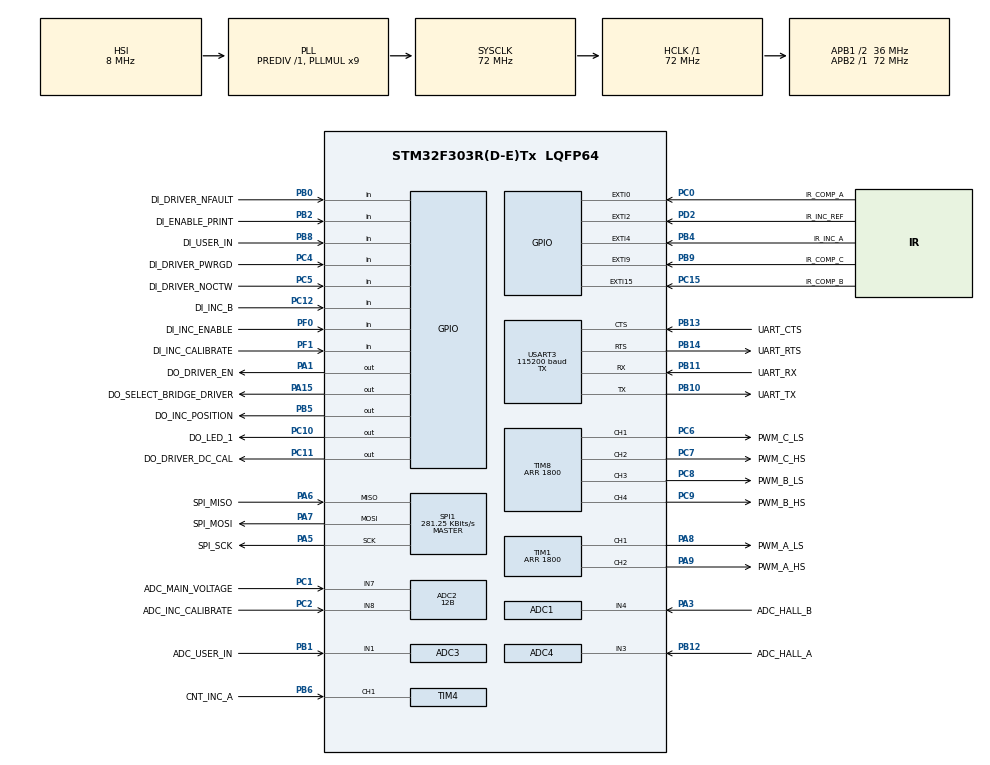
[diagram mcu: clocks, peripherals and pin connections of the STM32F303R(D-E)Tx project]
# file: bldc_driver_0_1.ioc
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ADC1.Channel-0\#ChannelRegularConversion=ADC_CHANNEL_4
ADC1.ClockPrescaler=ADC_CLOCK_ASYNC_DIV1
ADC1.ContinuousConvMode=ENABLE
ADC1.DMAContinuousRequests=ENABLE
ADC1.DataAlign=ADC_DATAALIGN_RIGHT
ADC1.DiscontinuousConvMode=DISABLE
ADC1.EOCSelection=ADC_EOC_SEQ_CONV
ADC1.EnableAnalogWatchDog1=false
ADC1.EnableAnalogWatchDog2=false
ADC1.EnableAnalogWatchDog3=false
ADC1.EnableInjectedConversion=DISABLE
ADC1.EnableRegularConversion=ENABLE
ADC1.ExternalTrigConv=ADC_SOFTWARE_START
ADC1.ExternalTrigConvEdge=ADC_EXTERNALTRIGCONVEDGE_NONE
ADC1.LowPowerAutoWait=DISABLE
ADC1.NbrOfConversion=1
ADC1.NbrOfConversionFlag=1
ADC1.Offset-0\#ChannelRegularConversion=0
ADC1.OffsetNumber-0\#ChannelRegularConversion=ADC_OFFSET_NONE
ADC1.Overrun=ADC_OVR_DATA_OVERWRITTEN
ADC1.Rank-0\#ChannelRegularConversion=1
ADC1.Resolution=ADC_RESOLUTION_12B
ADC1.SamplingTime-0\#ChannelRegularConversion=ADC_SAMPLETIME_601CYCLES_5
ADC1.ScanConvMode=ADC_SCAN_DISABLE
ADC1.master=1
ADC2.Channel-0\#ChannelRegularConversion=ADC_CHANNEL_7
ADC2.ClockPrescaler=ADC_CLOCK_ASYNC_DIV1
ADC2.ContinuousConvMode=DISABLE
ADC2.DMAContinuousRequests=DISABLE
ADC2.DataAlign=ADC_DATAALIGN_RIGHT
ADC2.DiscontinuousConvMode=DISABLE
ADC2.EOCSelection=ADC_EOC_SINGLE_CONV
ADC2.EnableAnalogWatchDog1=false
ADC2.EnableAnalogWatchDog2=false
ADC2.EnableAnalogWatchDog3=false
ADC2.EnableInjectedConversion=ENABLE
ADC2.EnableRegularConversion=ENABLE
ADC2.ExternalTrigConv=ADC_SOFTWARE_START
ADC2.ExternalTrigConvEdge=ADC_EXTERNALTRIGCONVEDGE_NONE
ADC2.InjNumberOfConversion=0
ADC2.LowPowerAutoWait=DISABLE
ADC2.NbrOfConversion=1
ADC2.NbrOfConversionFlag=1
ADC2.Offset-0\#ChannelRegularConversion=0
ADC2.OffsetNumber-0\#ChannelRegularConversion=ADC_OFFSET_NONE
ADC2.Overrun=ADC_OVR_DATA_OVERWRITTEN
ADC2.Rank-0\#ChannelRegularConversion=1
ADC2.Resolution=ADC_RESOLUTION_12B
ADC2.SamplingTime-0\#ChannelRegularConversion=ADC_SAMPLETIME_1CYCLE_5
ADC2.ScanConvMode=ADC_SCAN_DISABLE
ADC3.Channel-64\#ChannelRegularConversion=ADC_CHANNEL_1
ADC3.NbrOfConversionFlag=1
ADC3.Offset-64\#ChannelRegularConversion=0
ADC3.OffsetNumber-64\#ChannelRegularConversion=ADC_OFFSET_NONE
ADC3.Rank-64\#ChannelRegularConversion=1
ADC3.SamplingTime-64\#ChannelRegularConversion=ADC_SAMPLETIME_1CYCLE_5
ADC3.master=1
ADC4.Channel-0\#ChannelRegularConversion=ADC_CHANNEL_3
ADC4.ClockPrescaler=ADC_CLOCK_ASYNC_DIV1
ADC4.ContinuousConvMode=ENABLE
ADC4.DMAContinuousRequests=ENABLE
ADC4.DataAlign=ADC_DATAALIGN_RIGHT
ADC4.DiscontinuousConvMode=DISABLE
ADC4.EOCSelection=ADC_EOC_SEQ_CONV
ADC4.EnableAnalogWatchDog1=false
ADC4.EnableAnalogWatchDog2=false
ADC4.EnableAnalogWatchDog3=false
ADC4.EnableInjectedConversion=DISABLE
ADC4.EnableRegularConversion=ENABLE
ADC4.ExternalTrigConv=ADC_SOFTWARE_START
ADC4.ExternalTrigConvEdge=ADC_EXTERNALTRIGCONVEDGE_NONE
ADC4.LowPowerAutoWait=DISABLE
ADC4.NbrOfConversion=1
ADC4.NbrOfConversionFlag=1
ADC4.Offset-0\#ChannelRegularConversion=0
ADC4.OffsetNumber-0\#ChannelRegularConversion=ADC_OFFSET_NONE
ADC4.Overrun=ADC_OVR_DATA_OVERWRITTEN
ADC4.Rank-0\#ChannelRegularConversion=1
ADC4.Resolution=ADC_RESOLUTION_12B
ADC4.SamplingTime-0\#ChannelRegularConversion=ADC_SAMPLETIME_601CYCLES_5
ADC4.ScanConvMode=ADC_SCAN_DISABLE
Dma.ADC1.1.Direction=DMA_PERIPH_TO_MEMORY
Dma.ADC1.1.Instance=DMA1_Channel1
Dma.ADC1.1.MemDataAlignment=DMA_MDATAALIGN_WORD
Dma.ADC1.1.MemInc=DMA_MINC_ENABLE
Dma.ADC1.1.Mode=DMA_NORMAL
Dma.ADC1.1.PeriphDataAlignment=DMA_PDATAALIGN_WORD
Dma.ADC1.1.PeriphInc=DMA_PINC_DISABLE
Dma.ADC1.1.Priority=DMA_PRIORITY_LOW
Dma.ADC4.0.Direction=DMA_PERIPH_TO_MEMORY
Dma.ADC4.0.Instance=DMA2_Channel2
Dma.ADC4.0.MemDataAlignment=DMA_MDATAALIGN_WORD
Dma.ADC4.0.MemInc=DMA_MINC_ENABLE
Dma.ADC4.0.Mode=DMA_NORMAL
Dma.ADC4.0.PeriphDataAlignment=DMA_PDATAALIGN_WORD
Dma.ADC4.0.PeriphInc=DMA_PINC_DISABLE
Dma.ADC4.0.Priority=DMA_PRIORITY_LOW
Dma.Request0=ADC4
Dma.Request1=ADC1
Mcu.Family=STM32F3
Mcu.Name=STM32F303R(D-E)Tx
Mcu.Package=LQFP64
NVIC.DMA1_Channel1_IRQn=true\:0\:0\:false\:false\:true\:false
NVIC.DMA2_Channel2_IRQn=true\:0\:0\:false\:false\:true\:false
NVIC.EXTI0_IRQn=true\:0\:0\:false\:false\:true\:true
NVIC.EXTI15_10_IRQn=true\:0\:0\:false\:false\:true\:true
NVIC.EXTI2_TSC_IRQn=true\:0\:0\:false\:false\:true\:true
NVIC.EXTI4_IRQn=true\:0\:0\:false\:false\:true\:true
NVIC.EXTI9_5_IRQn=true\:0\:0\:false\:false\:true\:true
NVIC.PriorityGroup=NVIC_PRIORITYGROUP_4
NVIC.TIM1_UP_TIM16_IRQn=true\:0\:0\:false\:false\:true\:true
NVIC.TIM2_IRQn=true\:0\:0\:false\:false\:true\:true
PA1.GPIO_Label=DO_DRIVER_EN
PA1.Signal=GPIO_Output
PA13.Mode=Trace_Asynchronous_SW
PA13.Signal=SYS_JTMS-SWDIO
PA14.Mode=Trace_Asynchronous_SW
PA14.Signal=SYS_JTCK-SWCLK
PA15.GPIO_Label=DO_SELECT_BRIDGE_DRIVER
PA15.Signal=GPIO_Output
PA3.GPIO_Label=ADC_HALL_B
PA3.Mode=IN4-Single-Ended
PA3.Signal=ADC1_IN4
PA5.GPIO_Label=SPI_SCK
PA5.Mode=Full_Duplex_Master
PA5.Signal=SPI1_SCK
PA6.GPIO_Label=SPI_MISO
PA6.Mode=Full_Duplex_Master
PA6.Signal=SPI1_MISO
PA7.GPIO_Label=SPI_MOSI
PA7.Mode=Full_Duplex_Master
PA7.Signal=SPI1_MOSI
PA8.GPIO_Label=PWM_A_LS
PA8.Signal=S_TIM1_CH1
PA9.GPIO_Label=PWM_A_HS
PA9.Signal=S_TIM1_CH2
PB0.GPIO_Label=DI_DRIVER_NFAULT
PB0.Signal=GPIO_Input
PB1.GPIO_Label=ADC_USER_IN
PB1.Mode=IN1-Single-Ended
PB1.Signal=ADC3_IN1
PB10.GPIO_Label=UART_TX
PB10.Mode=Asynchronous
PB10.Signal=USART3_TX
PB11.GPIO_Label=UART_RX
PB11.Mode=Asynchronous
PB11.Signal=USART3_RX
PB12.GPIO_Label=ADC_HALL_A
PB12.Mode=IN3-Single-Ended
PB12.Signal=ADC4_IN3
PB13.GPIO_Label=UART_CTS
PB13.Mode=CTS_RTS
PB13.Signal=USART3_CTS
PB14.GPIO_Label=UART_RTS
PB14.Mode=CTS_RTS
PB14.Signal=USART3_RTS
PB2.GPIO_Label=DI_ENABLE_PRINT
PB2.Signal=GPIO_Input
PB3.Mode=Trace_Asynchronous_SW
PB3.Signal=SYS_JTDO-TRACESWO
PB4.GPIO_Label=IR_INC_A
PB4.Signal=GPXTI4
PB5.GPIO_Label=DO_INC_POSITION
PB5.Signal=GPIO_Output
PB6.GPIO_Label=CNT_INC_A
PB6.Signal=S_TIM4_CH1
PB8.GPIO_Label=DI_USER_IN
PB8.Signal=GPIO_Input
PB9.GPIO_Label=IR_COMP_C
PB9.GPIO_ModeDefaultEXTI=GPIO_MODE_IT_RISING_FALLING
PB9.Signal=GPXTI9
PC0.GPIO_Label=IR_COMP_A
PC0.GPIO_ModeDefaultEXTI=GPIO_MODE_IT_RISING_FALLING
PC0.Signal=GPXTI0
PC1.GPIO_Label=ADC_MAIN_VOLTAGE
PC1.Signal=ADCx_IN7
PC10.GPIO_Label=DO_LED_1
PC10.Signal=GPIO_Output
PC11.GPIO_Label=DO_DRIVER_DC_CAL
PC11.Signal=GPIO_Output
PC12.GPIO_Label=DI_INC_B
PC12.Signal=GPIO_Input
PC15-OSC32_OUT.GPIO_Label=IR_COMP_B
PC15-OSC32_OUT.GPIO_ModeDefaultEXTI=GPIO_MODE_IT_RISING_FALLING
PC15-OSC32_OUT.Signal=GPXTI15
PC2.GPIO_Label=ADC_INC_CALIBRATE
PC2.Signal=ADCx_IN8
PC4.GPIO_Label=DI_DRIVER_PWRGD
PC4.Signal=GPIO_Input
PC5.GPIO_Label=DI_DRIVER_NOCTW
PC5.Signal=GPIO_Input
PC6.GPIO_Label=PWM_C_LS
PC6.Signal=S_TIM8_CH1
PC7.GPIO_Label=PWM_C_HS
PC7.Signal=S_TIM8_CH2
PC8.GPIO_Label=PWM_B_LS
PC8.Signal=S_TIM8_CH3
PC9.GPIO_Label=PWM_B_HS
PC9.Signal=S_TIM8_CH4
PD2.GPIO_Label=IR_INC_REF
PD2.Signal=GPXTI2
PF0-OSC_IN.GPIO_Label=DI_INC_ENABLE
PF0-OSC_IN.Signal=GPIO_Input
PF1-OSC_OUT.GPIO_Label=DI_INC_CALIBRATE
PF1-OSC_OUT.Signal=GPIO_Input
ProjectManager.HeapSize=0x200
ProjectManager.StackSize=0x400
ProjectManager.TargetToolchain=SW4STM32
RCC.AHBFreq_Value=72000000
RCC.APB1CLKDivider=RCC_HCLK_DIV2
RCC.APB1Freq_Value=36000000
RCC.APB1TimFreq_Value=72000000
RCC.APB2Freq_Value=72000000
RCC.APB2TimFreq_Value=72000000
RCC.CortexFreq_Value=72000000
RCC.HCLKFreq_Value=72000000
RCC.HSE_VALUE=8000000
RCC.HSI_VALUE=8000000
RCC.LSE_VALUE=32768
RCC.PLLMUL=RCC_PLL_MUL9
RCC.SYSCLKFreq_VALUE=72000000
RCC.SYSCLKSourceVirtual=RCC_SYSCLKSOURCE_PLLCLK
RCC.USBFreq_Value=72000000
SH.ADCx_IN7.0=ADC2_IN7,IN7-Single-Ended
SH.ADCx_IN8.0=ADC2_IN8,IN8-Single-Ended
SH.S_TIM1_CH1.0=TIM1_CH1,PWM Generation1 CH1
SH.S_TIM1_CH2.0=TIM1_CH2,PWM Generation2 CH2
SH.S_TIM4_CH1.0=TIM4_CH1,TriggerSource_TI1FP1
SH.S_TIM8_CH1.0=TIM8_CH1,PWM Generation1 CH1
SH.S_TIM8_CH2.0=TIM8_CH2,PWM Generation2 CH2
SH.S_TIM8_CH3.0=TIM8_CH3,PWM Generation3 CH3
SH.S_TIM8_CH4.0=TIM8_CH4,PWM Generation4 CH4
SPI1.BaudRatePrescaler=SPI_BAUDRATEPRESCALER_256
SPI1.CalculateBaudRate=281.25 KBits/s
SPI1.DataSize=SPI_DATASIZE_8BIT
SPI1.Direction=SPI_DIRECTION_2LINES
SPI1.Mode=SPI_MODE_MASTER
SPI1.VirtualType=VM_MASTER
TIM1.Channel-PWM\ Generation1\ CH1=TIM_CHANNEL_1
TIM1.Channel-PWM\ Generation2\ CH2=TIM_CHANNEL_2
TIM1.CounterMode=TIM_COUNTERMODE_CENTERALIGNED3
TIM1.Period=1800
TIM1.Pulse-PWM\ Generation1\ CH1=900
TIM1.Pulse-PWM\ Generation2\ CH2=900
TIM2.Period=0xFFFFFFFF
TIM2.Prescaler=72
TIM8.Channel-PWM\ Generation1\ CH1=TIM_CHANNEL_1
TIM8.Channel-PWM\ Generation2\ CH2=TIM_CHANNEL_2
TIM8.Channel-PWM\ Generation3\ CH3=TIM_CHANNEL_3
TIM8.Channel-PWM\ Generation4\ CH4=TIM_CHANNEL_4
TIM8.CounterMode=TIM_COUNTERMODE_CENTERALIGNED3
TIM8.Period=1800
TIM8.Pulse-PWM\ Generation1\ CH1=900
TIM8.Pulse-PWM\ Generation3\ CH3=900
USART3.BaudRate=115200
USART3.Mode=MODE_TX
USART3.VirtualMode-Asynchronous=VM_ASYNC
USART3.WordLength=WORDLENGTH_8B
VP_TIM2_VS_ClockSourceINT.Mode=Internal
VP_TIM4_VS_ControllerModeClock.Mode=Clock Mode
board=bldc_driver_0_1

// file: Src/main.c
/**
  ******************************************************************************
  * File Name          : main.c
  * Description        : Main program body
  ******************************************************************************
  ** This notice applies to any and all portions of this file
  * that are not between comment pairs USER CODE BEGIN and
  * USER CODE END. Other portions of this file, whether
  * inserted by the user or by software development tools
  * are owned by their respective copyright owners.
  *
  * COPYRIGHT(c) 2018 STMicroelectronics
  *
  * Redistribution and use in source and binary forms, with or without modification,
  * are permitted provided that the following conditions are met:
  *   1. Redistributions of source code must retain the above copyright notice,
  *      this list of conditions and the following disclaimer.
  *   2. Redistributions in binary form must reproduce the above copyright notice,
  *      this list of conditions and the following disclaimer in the documentation
  *      and/or other materials provided with the distribution.
  *   3. Neither the name of STMicroelectronics nor the names of its contributors
  *      may be used to endorse or promote products derived from this software
  *      without specific prior written permission.
  *
  * THIS SOFTWARE IS PROVIDED BY THE COPYRIGHT HOLDERS AND CONTRIBUTORS "AS IS"
  * AND ANY EXPRESS OR IMPLIED WARRANTIES, INCLUDING, BUT NOT LIMITED TO, THE
  * IMPLIED WARRANTIES OF MERCHANTABILITY AND FITNESS FOR A PARTICULAR PURPOSE ARE
  * DISCLAIMED. IN NO EVENT SHALL THE COPYRIGHT HOLDER OR CONTRIBUTORS BE LIABLE
  * FOR ANY DIRECT, INDIRECT, INCIDENTAL, SPECIAL, EXEMPLARY, OR CONSEQUENTIAL
  * DAMAGES (INCLUDING, BUT NOT LIMITED TO, PROCUREMENT OF SUBSTITUTE GOODS OR
  * SERVICES; LOSS OF USE, DATA, OR PROFITS; OR BUSINESS INTERRUPTION) HOWEVER
  * CAUSED AND ON ANY THEORY OF LIABILITY, WHETHER IN CONTRACT, STRICT LIABILITY,
  * OR TORT (INCLUDING NEGLIGENCE OR OTHERWISE) ARISING IN ANY WAY OUT OF THE USE
  * OF THIS SOFTWARE, EVEN IF ADVISED OF THE POSSIBILITY OF SUCH DAMAGE.
  *
  ******************************************************************************
  */

#include "main.h"
#include "stm32f3xx_hal.h"

/* USER CODE BEGIN Includes */
//#include "bldc_driver_adapter.h"
#include "bldc_driver_HAL.h"
#include "bldc_driver_adapter.h"
/* USER CODE END Includes */

ADC_HandleTypeDef hadc1;
ADC_HandleTypeDef hadc2;
ADC_HandleTypeDef hadc3;
ADC_HandleTypeDef hadc4;
DMA_HandleTypeDef hdma_adc1;
DMA_HandleTypeDef hdma_adc4;

SPI_HandleTypeDef hspi1;

TIM_HandleTypeDef htim1;
TIM_HandleTypeDef htim2;
TIM_HandleTypeDef htim4;
TIM_HandleTypeDef htim8;

UART_HandleTypeDef huart3;

/* USER CODE BEGIN PV */
/* Private variables ---------------------------------------------------------*/

/* USER CODE END PV */

void SystemClock_Config(void);
static void MX_GPIO_Init(void);
static void MX_DMA_Init(void);
static void MX_SPI1_Init(void);
static void MX_TIM8_Init(void);
static void MX_USART3_UART_Init(void);
static void MX_ADC1_Init(void);
static void MX_ADC4_Init(void);
static void MX_TIM2_Init(void);
static void MX_ADC2_Init(void);
static void MX_ADC3_Init(void);
static void MX_TIM1_Init(void);
static void MX_TIM4_Init(void);

void HAL_TIM_MspPostInit(TIM_HandleTypeDef *htim);

/* USER CODE BEGIN PFP */
/* Private function prototypes -----------------------------------------------*/

/* USER CODE END PFP */

/* USER CODE BEGIN 0 */
//HAL_ADC_ConvHalfCpltCallback

/* USER CODE END 0 */

int main(void)
{

  /* MCU Configuration----------------------------------------------------------*/

  /* Reset of all peripherals, Initializes the Flash interface and the Systick. */
  HAL_Init();

  /* USER CODE BEGIN Init */

  initBLDCDriver(
    		  &hadc1, // hall B ADC
    		  &hadc4, // hall A ADC
    		  &hadc3, // user in ADC
			  &hadc2, // main Voltage & encoder calibration ADC

    		  &htim1, // phase A PWM
			  &htim8, // phases B and C PWM

			  &htim2, // systime
			  &htim4, // encoder

    		  &hspi1, // bridgedriver SPI
    		  &huart3); // UART
  /* USER CODE END Init */

  /* Configure the system clock */
  SystemClock_Config();

  /* Initialize all configured peripherals */
  MX_GPIO_Init();
  MX_DMA_Init();
  MX_SPI1_Init();
  MX_USART3_UART_Init();

  MX_ADC1_Init();
  MX_ADC4_Init();
  MX_ADC2_Init();
  MX_ADC3_Init();

  MX_TIM1_Init();
  MX_TIM2_Init();
  MX_TIM4_Init();
  MX_TIM8_Init();

  /* USER CODE BEGIN 2 */
  startupBLDCDriver();
  /* USER CODE END 2 */

  /* Infinite loop */
  /* USER CODE BEGIN WHILE */
  while (1)
  {
	  proceedBLDCDriver();
  /* USER CODE END WHILE */

  }

}

/** System Clock Configuration
*/
void SystemClock_Config(void)
{

  RCC_OscInitTypeDef RCC_OscInitStruct;
  RCC_ClkInitTypeDef RCC_ClkInitStruct;
  RCC_PeriphCLKInitTypeDef PeriphClkInit;

    /**Initializes the CPU, AHB and APB busses clocks
    */
  RCC_OscInitStruct.OscillatorType = RCC_OSCILLATORTYPE_HSI;
  RCC_OscInitStruct.HSIState = RCC_HSI_ON;
  RCC_OscInitStruct.HSICalibrationValue = 16;
  RCC_OscInitStruct.PLL.PLLState = RCC_PLL_ON;
  RCC_OscInitStruct.PLL.PLLSource = RCC_PLLSOURCE_HSI;
  RCC_OscInitStruct.PLL.PLLMUL = RCC_PLL_MUL9;
  RCC_OscInitStruct.PLL.PREDIV = RCC_PREDIV_DIV1;
  if (HAL_RCC_OscConfig(&RCC_OscInitStruct) != HAL_OK)
  {
    _Error_Handler(__FILE__, __LINE__);
  }

    /**Initializes the CPU, AHB and APB busses clocks
    */
  RCC_ClkInitStruct.ClockType = RCC_CLOCKTYPE_HCLK|RCC_CLOCKTYPE_SYSCLK
                              |RCC_CLOCKTYPE_PCLK1|RCC_CLOCKTYPE_PCLK2;
  RCC_ClkInitStruct.SYSCLKSource = RCC_SYSCLKSOURCE_PLLCLK;
  RCC_ClkInitStruct.AHBCLKDivider = RCC_SYSCLK_DIV1;
  RCC_ClkInitStruct.APB1CLKDivider = RCC_HCLK_DIV2;
  RCC_ClkInitStruct.APB2CLKDivider = RCC_HCLK_DIV1;

  if (HAL_RCC_ClockConfig(&RCC_ClkInitStruct, FLASH_LATENCY_2) != HAL_OK)
  {
    _Error_Handler(__FILE__, __LINE__);
  }

  PeriphClkInit.PeriphClockSelection = RCC_PERIPHCLK_USART3|RCC_PERIPHCLK_TIM1
                              |RCC_PERIPHCLK_TIM8|RCC_PERIPHCLK_ADC12
                              |RCC_PERIPHCLK_ADC34|RCC_PERIPHCLK_TIM2
                              |RCC_PERIPHCLK_TIM34;
  PeriphClkInit.Usart3ClockSelection = RCC_USART3CLKSOURCE_PCLK1;
  PeriphClkInit.Adc12ClockSelection = RCC_ADC12PLLCLK_DIV1;
  PeriphClkInit.Adc34ClockSelection = RCC_ADC34PLLCLK_DIV1;
  PeriphClkInit.Tim1ClockSelection = RCC_TIM1CLK_HCLK;
  PeriphClkInit.Tim8ClockSelection = RCC_TIM8CLK_HCLK;
  PeriphClkInit.Tim2ClockSelection = RCC_TIM2CLK_HCLK;
  PeriphClkInit.Tim34ClockSelection = RCC_TIM34CLK_HCLK;
  if (HAL_RCCEx_PeriphCLKConfig(&PeriphClkInit) != HAL_OK)
  {
    _Error_Handler(__FILE__, __LINE__);
  }

    /**Configure the Systick interrupt time
    */
  HAL_SYSTICK_Config(HAL_RCC_GetHCLKFreq()/1000);

    /**Configure the Systick
    */
  HAL_SYSTICK_CLKSourceConfig(SYSTICK_CLKSOURCE_HCLK);

  /* SysTick_IRQn interrupt configuration */
  HAL_NVIC_SetPriority(SysTick_IRQn, 0, 0);
}

/* ADC1 init function */
static void MX_ADC1_Init(void)
{

  ADC_MultiModeTypeDef multimode;
  ADC_ChannelConfTypeDef sConfig;

    /**Common config
    */
  hadc1.Instance = ADC1;
  hadc1.Init.ClockPrescaler = ADC_CLOCK_ASYNC_DIV1;
  hadc1.Init.Resolution = ADC_RESOLUTION_12B;
  hadc1.Init.ScanConvMode = ADC_SCAN_DISABLE;
  hadc1.Init.ContinuousConvMode = ENABLE;
  hadc1.Init.DiscontinuousConvMode = DISABLE;
  hadc1.Init.ExternalTrigConvEdge = ADC_EXTERNALTRIGCONVEDGE_NONE;
  hadc1.Init.ExternalTrigConv = ADC_SOFTWARE_START;
  hadc1.Init.DataAlign = ADC_DATAALIGN_RIGHT;
  hadc1.Init.NbrOfConversion = 1;
  hadc1.Init.DMAContinuousRequests = ENABLE;
  hadc1.Init.EOCSelection = ADC_EOC_SEQ_CONV;
  hadc1.Init.LowPowerAutoWait = DISABLE;
  hadc1.Init.Overrun = ADC_OVR_DATA_OVERWRITTEN;
  if (HAL_ADC_Init(&hadc1) != HAL_OK)
  {
    _Error_Handler(__FILE__, __LINE__);
  }

    /**Configure the ADC multi-mode
    */
  multimode.Mode = ADC_MODE_INDEPENDENT;
  if (HAL_ADCEx_MultiModeConfigChannel(&hadc1, &multimode) != HAL_OK)
  {
    _Error_Handler(__FILE__, __LINE__);
  }

    /**Configure Regular Channel
    */
  sConfig.Channel = ADC_CHANNEL_4;
  sConfig.Rank = 1;
  sConfig.SingleDiff = ADC_SINGLE_ENDED;
  sConfig.SamplingTime = ADC_SAMPLETIME_601CYCLES_5;
  sConfig.OffsetNumber = ADC_OFFSET_NONE;
  sConfig.Offset = 0;
  if (HAL_ADC_ConfigChannel(&hadc1, &sConfig) != HAL_OK)
  {
    _Error_Handler(__FILE__, __LINE__);
  }

}

/* ADC2 init function */
static void MX_ADC2_Init(void)
{

  ADC_ChannelConfTypeDef sConfig;

    /**Common config
    */
  hadc2.Instance = ADC2;
  hadc2.Init.ClockPrescaler = ADC_CLOCK_ASYNC_DIV1;
  hadc2.Init.Resolution = ADC_RESOLUTION_12B;
  hadc2.Init.ScanConvMode = ADC_SCAN_DISABLE;
  hadc2.Init.ContinuousConvMode = DISABLE;
  hadc2.Init.DiscontinuousConvMode = DISABLE;
  hadc2.Init.ExternalTrigConvEdge = ADC_EXTERNALTRIGCONVEDGE_NONE;
  hadc2.Init.ExternalTrigConv = ADC_SOFTWARE_START;
  hadc2.Init.DataAlign = ADC_DATAALIGN_RIGHT;
  hadc2.Init.NbrOfConversion = 1;
  hadc2.Init.DMAContinuousRequests = DISABLE;
  hadc2.Init.EOCSelection = ADC_EOC_SINGLE_CONV;
  hadc2.Init.LowPowerAutoWait = DISABLE;
  hadc2.Init.Overrun = ADC_OVR_DATA_OVERWRITTEN;
  if (HAL_ADC_Init(&hadc2) != HAL_OK)
  {
    _Error_Handler(__FILE__, __LINE__);
  }

    /**Configure Regular Channel
    */
  sConfig.Channel = ADC_CHANNEL_7;
  sConfig.Rank = 1;
  sConfig.SingleDiff = ADC_SINGLE_ENDED;
  sConfig.SamplingTime = ADC_SAMPLETIME_1CYCLE_5;
  sConfig.OffsetNumber = ADC_OFFSET_NONE;
  sConfig.Offset = 0;
  if (HAL_ADC_ConfigChannel(&hadc2, &sConfig) != HAL_OK)
  {
    _Error_Handler(__FILE__, __LINE__);
  }

}

/* ADC3 init function */
static void MX_ADC3_Init(void)
{

  ADC_MultiModeTypeDef multimode;
  ADC_ChannelConfTypeDef sConfig;

    /**Common config
    */
  hadc3.Instance = ADC3;
  hadc3.Init.ClockPrescaler = ADC_CLOCK_ASYNC_DIV1;
  hadc3.Init.Resolution = ADC_RESOLUTION_12B;
  hadc3.Init.ScanConvMode = ADC_SCAN_DISABLE;
  hadc3.Init.ContinuousConvMode = DISABLE;
  hadc3.Init.DiscontinuousConvMode = DISABLE;
  hadc3.Init.ExternalTrigConvEdge = ADC_EXTERNALTRIGCONVEDGE_NONE;
  hadc3.Init.ExternalTrigConv = ADC_SOFTWARE_START;
  hadc3.Init.DataAlign = ADC_DATAALIGN_RIGHT;
  hadc3.Init.NbrOfConversion = 1;
  hadc3.Init.DMAContinuousRequests = DISABLE;
  hadc3.Init.EOCSelection = ADC_EOC_SINGLE_CONV;
  hadc3.Init.LowPowerAutoWait = DISABLE;
  hadc3.Init.Overrun = ADC_OVR_DATA_OVERWRITTEN;
  if (HAL_ADC_Init(&hadc3) != HAL_OK)
  {
    _Error_Handler(__FILE__, __LINE__);
  }

    /**Configure the ADC multi-mode
    */
  multimode.Mode = ADC_MODE_INDEPENDENT;
  if (HAL_ADCEx_MultiModeConfigChannel(&hadc3, &multimode) != HAL_OK)
  {
    _Error_Handler(__FILE__, __LINE__);
  }

    /**Configure Regular Channel
    */
  sConfig.Channel = ADC_CHANNEL_1;
  sConfig.Rank = 1;
  sConfig.SingleDiff = ADC_SINGLE_ENDED;
  sConfig.SamplingTime = ADC_SAMPLETIME_1CYCLE_5;
  sConfig.OffsetNumber = ADC_OFFSET_NONE;
  sConfig.Offset = 0;
  if (HAL_ADC_ConfigChannel(&hadc3, &sConfig) != HAL_OK)
  {
    _Error_Handler(__FILE__, __LINE__);
  }

}

/* ADC4 init function */
static void MX_ADC4_Init(void)
{

  ADC_ChannelConfTypeDef sConfig;

    /**Common config
    */
  hadc4.Instance = ADC4;
  hadc4.Init.ClockPrescaler = ADC_CLOCK_ASYNC_DIV1;
  hadc4.Init.Resolution = ADC_RESOLUTION_12B;
  hadc4.Init.ScanConvMode = ADC_SCAN_DISABLE;
  hadc4.Init.ContinuousConvMode = ENABLE;
  hadc4.Init.DiscontinuousConvMode = DISABLE;
  hadc4.Init.ExternalTrigConvEdge = ADC_EXTERNALTRIGCONVEDGE_NONE;
  hadc4.Init.ExternalTrigConv = ADC_SOFTWARE_START;
  hadc4.Init.DataAlign = ADC_DATAALIGN_RIGHT;
  hadc4.Init.NbrOfConversion = 1;
  hadc4.Init.DMAContinuousRequests = ENABLE;
  hadc4.Init.EOCSelection = ADC_EOC_SEQ_CONV;
  hadc4.Init.LowPowerAutoWait = DISABLE;
  hadc4.Init.Overrun = ADC_OVR_DATA_OVERWRITTEN;
  if (HAL_ADC_Init(&hadc4) != HAL_OK)
  {
    _Error_Handler(__FILE__, __LINE__);
  }

    /**Configure Regular Channel
    */
  sConfig.Channel = ADC_CHANNEL_3;
  sConfig.Rank = 1;
  sConfig.SingleDiff = ADC_SINGLE_ENDED;
  sConfig.SamplingTime = ADC_SAMPLETIME_601CYCLES_5;
  sConfig.OffsetNumber = ADC_OFFSET_NONE;
  sConfig.Offset = 0;
  if (HAL_ADC_ConfigChannel(&hadc4, &sConfig) != HAL_OK)
  {
    _Error_Handler(__FILE__, __LINE__);
  }

}

/* SPI1 init function */
static void MX_SPI1_Init(void)
{

  /* SPI1 parameter configuration*/
  hspi1.Instance = SPI1;
  hspi1.Init.Mode = SPI_MODE_MASTER;
  hspi1.Init.Direction = SPI_DIRECTION_2LINES;
  hspi1.Init.DataSize = SPI_DATASIZE_8BIT;
  hspi1.Init.CLKPolarity = SPI_POLARITY_LOW;
  hspi1.Init.CLKPhase = SPI_PHASE_1EDGE;
  hspi1.Init.NSS = SPI_NSS_SOFT;
  hspi1.Init.BaudRatePrescaler = SPI_BAUDRATEPRESCALER_256;
  hspi1.Init.FirstBit = SPI_FIRSTBIT_MSB;
  hspi1.Init.TIMode = SPI_TIMODE_DISABLE;
  hspi1.Init.CRCCalculation = SPI_CRCCALCULATION_DISABLE;
  hspi1.Init.CRCPolynomial = 7;
  hspi1.Init.CRCLength = SPI_CRC_LENGTH_DATASIZE;
  hspi1.Init.NSSPMode = SPI_NSS_PULSE_ENABLE;
  if (HAL_SPI_Init(&hspi1) != HAL_OK)
  {
    _Error_Handler(__FILE__, __LINE__);
  }

}

/* TIM1 init function */
static void MX_TIM1_Init(void)
{
  TIM_MasterConfigTypeDef sMasterConfig;
  TIM_OC_InitTypeDef sConfigOC;
  TIM_BreakDeadTimeConfigTypeDef sBreakDeadTimeConfig;

  htim1.Instance = TIM1;
  htim1.Init.Prescaler = 0;
  htim1.Init.CounterMode = TIM_COUNTERMODE_CENTERALIGNED3;
  htim1.Init.Period = 1800;
  htim1.Init.ClockDivision = TIM_CLOCKDIVISION_DIV1;
  htim1.Init.RepetitionCounter = 0;
  htim1.Init.AutoReloadPreload = TIM_AUTORELOAD_PRELOAD_DISABLE;
  if (HAL_TIM_PWM_Init(&htim1) != HAL_OK)
  {
    _Error_Handler(__FILE__, __LINE__);
  }

  sMasterConfig.MasterOutputTrigger = TIM_TRGO_RESET;
  sMasterConfig.MasterOutputTrigger2 = TIM_TRGO2_RESET;
  sMasterConfig.MasterSlaveMode = TIM_MASTERSLAVEMODE_DISABLE;
  if (HAL_TIMEx_MasterConfigSynchronization(&htim1, &sMasterConfig) != HAL_OK)
  {
    _Error_Handler(__FILE__, __LINE__);
  }

  sConfigOC.OCMode = TIM_OCMODE_PWM1;
  sConfigOC.Pulse = 900;
  sConfigOC.OCPolarity = TIM_OCPOLARITY_HIGH;
  sConfigOC.OCNPolarity = TIM_OCNPOLARITY_HIGH;
  sConfigOC.OCFastMode = TIM_OCFAST_DISABLE;
  sConfigOC.OCIdleState = TIM_OCIDLESTATE_RESET;
  sConfigOC.OCNIdleState = TIM_OCNIDLESTATE_RESET;
  if (HAL_TIM_PWM_ConfigChannel(&htim1, &sConfigOC, TIM_CHANNEL_1) != HAL_OK)
  {
    _Error_Handler(__FILE__, __LINE__);
  }

  if (HAL_TIM_PWM_ConfigChannel(&htim1, &sConfigOC, TIM_CHANNEL_2) != HAL_OK)
  {
    _Error_Handler(__FILE__, __LINE__);
  }

  sBreakDeadTimeConfig.OffStateRunMode = TIM_OSSR_DISABLE;
  sBreakDeadTimeConfig.OffStateIDLEMode = TIM_OSSI_DISABLE;
  sBreakDeadTimeConfig.LockLevel = TIM_LOCKLEVEL_OFF;
  sBreakDeadTimeConfig.DeadTime = 0;
  sBreakDeadTimeConfig.BreakState = TIM_BREAK_DISABLE;
  sBreakDeadTimeConfig.BreakPolarity = TIM_BREAKPOLARITY_HIGH;
  sBreakDeadTimeConfig.BreakFilter = 0;
  sBreakDeadTimeConfig.Break2State = TIM_BREAK2_DISABLE;
  sBreakDeadTimeConfig.Break2Polarity = TIM_BREAK2POLARITY_HIGH;
  sBreakDeadTimeConfig.Break2Filter = 0;
  sBreakDeadTimeConfig.AutomaticOutput = TIM_AUTOMATICOUTPUT_DISABLE;
  if (HAL_TIMEx_ConfigBreakDeadTime(&htim1, &sBreakDeadTimeConfig) != HAL_OK)
  {
    _Error_Handler(__FILE__, __LINE__);
  }

  HAL_TIM_MspPostInit(&htim1);

}

/* TIM2 init function */
static void MX_TIM2_Init(void)
{

  TIM_ClockConfigTypeDef sClockSourceConfig;
  TIM_MasterConfigTypeDef sMasterConfig;

  htim2.Instance = TIM2;
  htim2.Init.Prescaler = 72;
  htim2.Init.CounterMode = TIM_COUNTERMODE_UP;
  htim2.Init.Period = 0xFFFFFFFF;
  htim2.Init.ClockDivision = TIM_CLOCKDIVISION_DIV1;
  htim2.Init.AutoReloadPreload = TIM_AUTORELOAD_PRELOAD_DISABLE;
  if (HAL_TIM_Base_Init(&htim2) != HAL_OK)
  {
    _Error_Handler(__FILE__, __LINE__);
  }

  sClockSourceConfig.ClockSource = TIM_CLOCKSOURCE_INTERNAL;
  if (HAL_TIM_ConfigClockSource(&htim2, &sClockSourceConfig) != HAL_OK)
  {
    _Error_Handler(__FILE__, __LINE__);
  }

  sMasterConfig.MasterOutputTrigger = TIM_TRGO_RESET;
  sMasterConfig.MasterSlaveMode = TIM_MASTERSLAVEMODE_DISABLE;
  if (HAL_TIMEx_MasterConfigSynchronization(&htim2, &sMasterConfig) != HAL_OK)
  {
    _Error_Handler(__FILE__, __LINE__);
  }

}

/* TIM4 init function */
static void MX_TIM4_Init(void)
{

  TIM_SlaveConfigTypeDef sSlaveConfig;
  TIM_MasterConfigTypeDef sMasterConfig;

  htim4.Instance = TIM4;
  htim4.Init.Prescaler = 0;
  htim4.Init.CounterMode = TIM_COUNTERMODE_UP;
  htim4.Init.Period = 0;
  htim4.Init.ClockDivision = TIM_CLOCKDIVISION_DIV1;
  htim4.Init.AutoReloadPreload = TIM_AUTORELOAD_PRELOAD_DISABLE;
  if (HAL_TIM_Base_Init(&htim4) != HAL_OK)
  {
    _Error_Handler(__FILE__, __LINE__);
  }

  sSlaveConfig.SlaveMode = TIM_SLAVEMODE_EXTERNAL1;
  sSlaveConfig.InputTrigger = TIM_TS_TI1FP1;
  sSlaveConfig.TriggerPolarity = TIM_TRIGGERPOLARITY_RISING;
  sSlaveConfig.TriggerFilter = 0;
  if (HAL_TIM_SlaveConfigSynchronization(&htim4, &sSlaveConfig) != HAL_OK)
  {
    _Error_Handler(__FILE__, __LINE__);
  }

  sMasterConfig.MasterOutputTrigger = TIM_TRGO_RESET;
  sMasterConfig.MasterSlaveMode = TIM_MASTERSLAVEMODE_DISABLE;
  if (HAL_TIMEx_MasterConfigSynchronization(&htim4, &sMasterConfig) != HAL_OK)
  {
    _Error_Handler(__FILE__, __LINE__);
  }

}

/* TIM8 init function */
static void MX_TIM8_Init(void)
{

  TIM_MasterConfigTypeDef sMasterConfig;
  TIM_OC_InitTypeDef sConfigOC;
  TIM_BreakDeadTimeConfigTypeDef sBreakDeadTimeConfig;

  htim8.Instance = TIM8;
  htim8.Init.Prescaler = 0;
  htim8.Init.CounterMode = TIM_COUNTERMODE_CENTERALIGNED3;
  htim8.Init.Period = 1800;
  htim8.Init.ClockDivision = TIM_CLOCKDIVISION_DIV1;
  htim8.Init.RepetitionCounter = 0;
  htim8.Init.AutoReloadPreload = TIM_AUTORELOAD_PRELOAD_DISABLE;
  if (HAL_TIM_PWM_Init(&htim8) != HAL_OK)
  {
    _Error_Handler(__FILE__, __LINE__);
  }

  sMasterConfig.MasterOutputTrigger = TIM_TRGO_RESET;
  sMasterConfig.MasterOutputTrigger2 = TIM_TRGO2_RESET;
  sMasterConfig.MasterSlaveMode = TIM_MASTERSLAVEMODE_DISABLE;
  if (HAL_TIMEx_MasterConfigSynchronization(&htim8, &sMasterConfig) != HAL_OK)
  {
    _Error_Handler(__FILE__, __LINE__);
  }

  sConfigOC.OCMode = TIM_OCMODE_PWM1;
  sConfigOC.Pulse = 900;
  sConfigOC.OCPolarity = TIM_OCPOLARITY_HIGH;
  sConfigOC.OCNPolarity = TIM_OCNPOLARITY_HIGH;
  sConfigOC.OCFastMode = TIM_OCFAST_DISABLE;
  sConfigOC.OCIdleState = TIM_OCIDLESTATE_RESET;
  sConfigOC.OCNIdleState = TIM_OCNIDLESTATE_RESET;
  if (HAL_TIM_PWM_ConfigChannel(&htim8, &sConfigOC, TIM_CHANNEL_1) != HAL_OK)
  {
    _Error_Handler(__FILE__, __LINE__);
  }

  sConfigOC.Pulse = 900;
  if (HAL_TIM_PWM_ConfigChannel(&htim8, &sConfigOC, TIM_CHANNEL_2) != HAL_OK)
  {
    _Error_Handler(__FILE__, __LINE__);
  }

  sConfigOC.Pulse = 900;
  if (HAL_TIM_PWM_ConfigChannel(&htim8, &sConfigOC, TIM_CHANNEL_3) != HAL_OK)
  {
    _Error_Handler(__FILE__, __LINE__);
  }

  sConfigOC.Pulse = 900;
  if (HAL_TIM_PWM_ConfigChannel(&htim8, &sConfigOC, TIM_CHANNEL_4) != HAL_OK)
  {
    _Error_Handler(__FILE__, __LINE__);
  }

  sBreakDeadTimeConfig.OffStateRunMode = TIM_OSSR_DISABLE;
  sBreakDeadTimeConfig.OffStateIDLEMode = TIM_OSSI_DISABLE;
  sBreakDeadTimeConfig.LockLevel = TIM_LOCKLEVEL_OFF;
  sBreakDeadTimeConfig.DeadTime = 0;
  sBreakDeadTimeConfig.BreakState = TIM_BREAK_DISABLE;
  sBreakDeadTimeConfig.BreakPolarity = TIM_BREAKPOLARITY_HIGH;
  sBreakDeadTimeConfig.BreakFilter = 0;
  sBreakDeadTimeConfig.Break2State = TIM_BREAK2_DISABLE;
  sBreakDeadTimeConfig.Break2Polarity = TIM_BREAK2POLARITY_HIGH;
  sBreakDeadTimeConfig.Break2Filter = 0;
  sBreakDeadTimeConfig.AutomaticOutput = TIM_AUTOMATICOUTPUT_DISABLE;
  if (HAL_TIMEx_ConfigBreakDeadTime(&htim8, &sBreakDeadTimeConfig) != HAL_OK)
  {
    _Error_Handler(__FILE__, __LINE__);
  }

  HAL_TIM_MspPostInit(&htim8);

}

/* USART3 init function */
static void MX_USART3_UART_Init(void)
{

  huart3.Instance = USART3;
  huart3.Init.BaudRate = 115200;
  huart3.Init.WordLength = UART_WORDLENGTH_8B;
  huart3.Init.StopBits = UART_STOPBITS_1;
  huart3.Init.Parity = UART_PARITY_NONE;
  huart3.Init.Mode = UART_MODE_TX;
  huart3.Init.HwFlowCtl = UART_HWCONTROL_RTS_CTS;
  huart3.Init.OverSampling = UART_OVERSAMPLING_16;
  huart3.Init.OneBitSampling = UART_ONE_BIT_SAMPLE_DISABLE;
  huart3.AdvancedInit.AdvFeatureInit = UART_ADVFEATURE_NO_INIT;
  if (HAL_UART_Init(&huart3) != HAL_OK)
  {
    _Error_Handler(__FILE__, __LINE__);
  }

}

static void MX_DMA_Init(void)
{
  /* DMA controller clock enable */
  __HAL_RCC_DMA2_CLK_ENABLE();
  __HAL_RCC_DMA1_CLK_ENABLE();

  /* DMA interrupt init */
  /* DMA1_Channel1_IRQn interrupt configuration */
  HAL_NVIC_SetPriority(DMA1_Channel1_IRQn, 0, 0);
  HAL_NVIC_EnableIRQ(DMA1_Channel1_IRQn);
  /* DMA2_Channel2_IRQn interrupt configuration */
  HAL_NVIC_SetPriority(DMA2_Channel2_IRQn, 0, 0);
  HAL_NVIC_EnableIRQ(DMA2_Channel2_IRQn);

}

/** Configure pins as
        * Analog
        * Input
        * Output
        * EVENT_OUT
        * EXTI
*/
static void MX_GPIO_Init(void)
{

  GPIO_InitTypeDef GPIO_InitStruct;

  /* GPIO Ports Clock Enable */
  __HAL_RCC_GPIOC_CLK_ENABLE();
  __HAL_RCC_GPIOF_CLK_ENABLE();
  __HAL_RCC_GPIOA_CLK_ENABLE();
  __HAL_RCC_GPIOB_CLK_ENABLE();
  __HAL_RCC_GPIOD_CLK_ENABLE();

  /*Configure GPIO pin Output Level */
  HAL_GPIO_WritePin(GPIOA, DO_DRIVER_EN_Pin|DO_SELECT_BRIDGE_DRIVER_Pin, GPIO_PIN_RESET);

  /*Configure GPIO pin Output Level */
  HAL_GPIO_WritePin(GPIOC, DO_LED_1_Pin|DO_DRIVER_DC_CAL_Pin, GPIO_PIN_RESET);

  /*Configure GPIO pin Output Level */
  HAL_GPIO_WritePin(DO_INC_POSITION_GPIO_Port, DO_INC_POSITION_Pin, GPIO_PIN_RESET);

  /*Configure GPIO pins : IR_COMP_B_Pin IR_COMP_A_Pin */
  GPIO_InitStruct.Pin = IR_COMP_B_Pin|IR_COMP_A_Pin;
  GPIO_InitStruct.Mode = GPIO_MODE_IT_RISING_FALLING;
  GPIO_InitStruct.Pull = GPIO_NOPULL;
  HAL_GPIO_Init(GPIOC, &GPIO_InitStruct);

  /*Configure GPIO pins : DI_INC_ENABLE_Pin DI_INC_CALIBRATE_Pin */
  GPIO_InitStruct.Pin = DI_INC_ENABLE_Pin|DI_INC_CALIBRATE_Pin;
  GPIO_InitStruct.Mode = GPIO_MODE_INPUT;
  GPIO_InitStruct.Pull = GPIO_NOPULL;
  HAL_GPIO_Init(GPIOF, &GPIO_InitStruct);

  /*Configure GPIO pins : DO_DRIVER_EN_Pin DO_SELECT_BRIDGE_DRIVER_Pin */
  GPIO_InitStruct.Pin = DO_DRIVER_EN_Pin|DO_SELECT_BRIDGE_DRIVER_Pin;
  GPIO_InitStruct.Mode = GPIO_MODE_OUTPUT_PP;
  GPIO_InitStruct.Pull = GPIO_NOPULL;
  GPIO_InitStruct.Speed = GPIO_SPEED_FREQ_LOW;
  HAL_GPIO_Init(GPIOA, &GPIO_InitStruct);

  /*Configure GPIO pins : DI_DRIVER_PWRGD_Pin DI_DRIVER_NOCTW_Pin DI_INC_B_Pin */
  GPIO_InitStruct.Pin = DI_DRIVER_PWRGD_Pin|DI_DRIVER_NOCTW_Pin|DI_INC_B_Pin;
  GPIO_InitStruct.Mode = GPIO_MODE_INPUT;
  GPIO_InitStruct.Pull = GPIO_NOPULL;
  HAL_GPIO_Init(GPIOC, &GPIO_InitStruct);

  /*Configure GPIO pins : DI_DRIVER_NFAULT_Pin DI_ENABLE_PRINT_Pin DI_USER_IN_Pin */
  GPIO_InitStruct.Pin = DI_DRIVER_NFAULT_Pin|DI_ENABLE_PRINT_Pin|DI_USER_IN_Pin;
  GPIO_InitStruct.Mode = GPIO_MODE_INPUT;
  GPIO_InitStruct.Pull = GPIO_NOPULL;
  HAL_GPIO_Init(GPIOB, &GPIO_InitStruct);

  /*Configure GPIO pins : DO_LED_1_Pin DO_DRIVER_DC_CAL_Pin */
  GPIO_InitStruct.Pin = DO_LED_1_Pin|DO_DRIVER_DC_CAL_Pin;
  GPIO_InitStruct.Mode = GPIO_MODE_OUTPUT_PP;
  GPIO_InitStruct.Pull = GPIO_NOPULL;
  GPIO_InitStruct.Speed = GPIO_SPEED_FREQ_LOW;
  HAL_GPIO_Init(GPIOC, &GPIO_InitStruct);

  /*Configure GPIO pin : IR_INC_REF_Pin */
  GPIO_InitStruct.Pin = IR_INC_REF_Pin;
  GPIO_InitStruct.Mode = GPIO_MODE_IT_RISING;
  GPIO_InitStruct.Pull = GPIO_NOPULL;
  HAL_GPIO_Init(IR_INC_REF_GPIO_Port, &GPIO_InitStruct);

  /*Configure GPIO pin : IR_INC_A_Pin */
  GPIO_InitStruct.Pin = IR_INC_A_Pin;
  GPIO_InitStruct.Mode = GPIO_MODE_IT_RISING;
  GPIO_InitStruct.Pull = GPIO_NOPULL;
  HAL_GPIO_Init(IR_INC_A_GPIO_Port, &GPIO_InitStruct);

  /*Configure GPIO pin : DO_INC_POSITION_Pin */
  GPIO_InitStruct.Pin = DO_INC_POSITION_Pin;
  GPIO_InitStruct.Mode = GPIO_MODE_OUTPUT_PP;
  GPIO_InitStruct.Pull = GPIO_NOPULL;
  GPIO_InitStruct.Speed = GPIO_SPEED_FREQ_LOW;
  HAL_GPIO_Init(DO_INC_POSITION_GPIO_Port, &GPIO_InitStruct);

  /*Configure GPIO pin : IR_COMP_C_Pin */
  GPIO_InitStruct.Pin = IR_COMP_C_Pin;
  GPIO_InitStruct.Mode = GPIO_MODE_IT_RISING_FALLING;
  GPIO_InitStruct.Pull = GPIO_NOPULL;
  HAL_GPIO_Init(IR_COMP_C_GPIO_Port, &GPIO_InitStruct);

  /* EXTI interrupt init*/
  HAL_NVIC_SetPriority(EXTI0_IRQn, 0, 0);
  HAL_NVIC_EnableIRQ(EXTI0_IRQn);

  HAL_NVIC_SetPriority(EXTI2_TSC_IRQn, 0, 0);
  HAL_NVIC_EnableIRQ(EXTI2_TSC_IRQn);

  HAL_NVIC_SetPriority(EXTI4_IRQn, 0, 0);
  HAL_NVIC_EnableIRQ(EXTI4_IRQn);

  HAL_NVIC_SetPriority(EXTI9_5_IRQn, 0, 0);
  HAL_NVIC_EnableIRQ(EXTI9_5_IRQn);

  HAL_NVIC_SetPriority(EXTI15_10_IRQn, 0, 0);
  HAL_NVIC_EnableIRQ(EXTI15_10_IRQn);

}

void _Error_Handler(char * file, int line)
{
  while(1)
  {
  }
}

/************************ (C) COPYRIGHT STMicroelectronics *****END OF FILE****/
